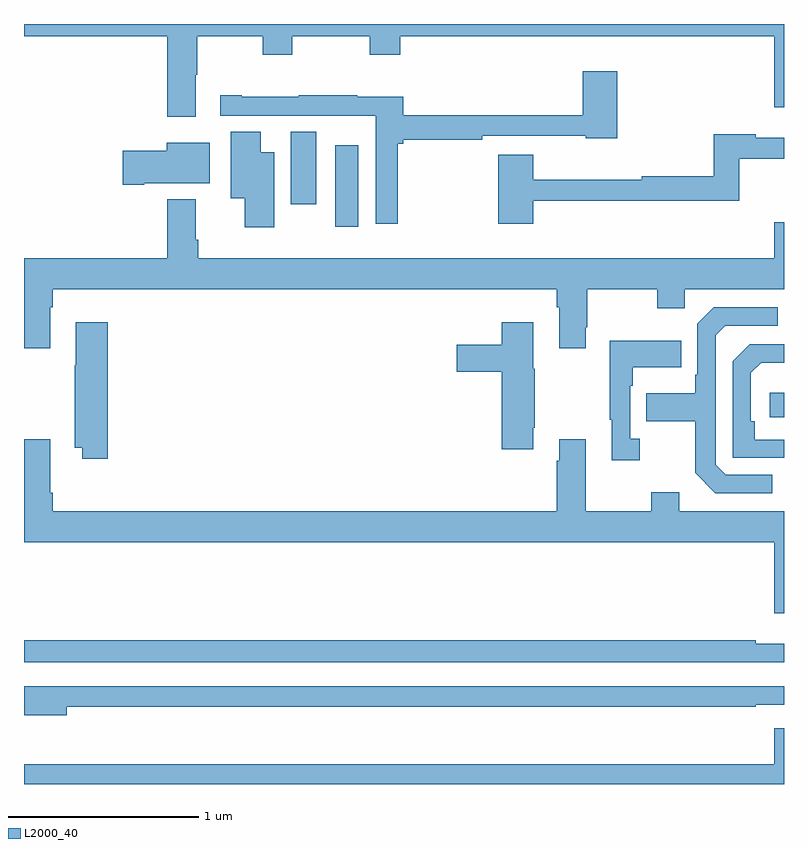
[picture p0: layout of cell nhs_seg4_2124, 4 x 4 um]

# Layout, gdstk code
import gdstk
lib = gdstk.Library(unit=1e-6, precision=1e-09)
def R(c, l, rs):  # rectangles x0, y0, x1, y1
    for r in rs: c.add(gdstk.rectangle(r[:2], r[2:], *l))
def P(c, l, *ps):  # polygons
    for p in ps: c.add(gdstk.Polygon(p, *l))
L2000_40 = (2000, 40)

nhs_seg4_2124 = lib.new_cell('nhs_seg4_2124')
R(nhs_seg4_2124, L2000_40, [(224.925,778.83,225,778.96), (222.638,779.832,222.76,780.262), (222.404,779.952,222.538,780.332)])
P(nhs_seg4_2124, L2000_40, [(221.905,780.632),(221.913,780.632),(221.913,780.836),(222.256,780.836),(222.256,780.737),(222.411,780.737),(222.411,780.836),(222.82,780.836),(222.82,780.737),(222.98,780.737),(222.98,780.836),(224.948,780.836),(224.948,780.462),(225,780.462),(225,780.9),(221,780.9),(221,780.836),(221.753,780.836),(221.753,780.411),(221.905,780.411)],
  [(222.968,780.269),(222.995,780.269),(222.995,780.292),(223.412,780.292),(223.412,780.312),(223.956,780.312),(223.956,780.299),(224.123,780.299),(224.123,780.652),(223.94,780.652),(223.94,780.421),(222.995,780.421),(222.995,780.516),(222.755,780.516),(222.755,780.526),(222.445,780.526),(222.445,780.516),(222.145,780.516),(222.145,780.526),(222.033,780.526),(222.033,780.417),(222.642,780.417),(222.642,780.416),(222.852,780.416),(222.852,779.85),(222.968,779.85)],
  [(222.316,780.226),(222.247,780.226),(222.247,780.332),(222.089,780.332),(222.089,779.984),(222.161,779.984),(222.161,779.829),(222.316,779.829)],
  [(223.679,779.97),(224.765,779.97),(224.765,780.192),(225,780.192),(225,780.301),(224.852,780.301),(224.852,780.32),(224.629,780.32),(224.629,780.098),(224.252,780.098),(224.252,780.081),(223.679,780.081),(223.679,780.211),(223.496,780.211),(223.496,779.85),(223.679,779.85)],
  [(221.632,780.062),(221.977,780.062),(221.977,780.274),(221.75,780.274),(221.75,780.233),(221.52,780.233),(221.52,780.055),(221.632,780.055)],
  [(221.137,779.408),(221.15,779.408),(221.15,779.504),(223.805,779.504),(223.805,779.408),(223.817,779.408),(223.817,779.193),(223.957,779.193),(223.957,779.305),(223.965,779.305),(223.965,779.504),(224.332,779.504),(224.332,779.405),(224.478,779.405),(224.478,779.504),(225,779.504),(225,779.857),(224.948,779.857),(224.948,779.668),(221.918,779.668),(221.918,779.764),(221.905,779.764),(221.905,779.977),(221.753,779.977),(221.753,779.668),(221,779.668),(221,779.193),(221.137,779.193)],
  [(224.938,778.527),(224.694,778.527),(224.64,778.581),(224.64,779.262),(224.691,779.313),(224.968,779.313),(224.968,779.409),(224.631,779.409),(224.544,779.322),(224.544,779.053),(224.532,779.053),(224.532,778.957),(224.275,778.957),(224.275,778.81),(224.532,778.81),(224.532,778.537),(224.637,778.431),(224.938,778.431)],
  [(223.681,778.774),(223.689,778.774),(223.689,779.085),(223.681,779.085),(223.681,779.329),(223.514,779.329),(223.514,779.211),(223.278,779.211),(223.278,779.069),(223.514,779.069),(223.514,778.662),(223.681,778.662)],
  [(221.441,779.329),(221.273,779.329),(221.273,779.105),(221.266,779.105),(221.266,778.67),(221.306,778.67),(221.306,778.611),(221.441,778.611)],
  [(224.242,778.718),(224.19,778.718),(224.19,778.997),(224.203,778.997),(224.203,779.093),(224.459,779.093),(224.459,779.233),(224.082,779.233),(224.082,778.817),(224.093,778.817),(224.093,778.605),(224.242,778.605)],
  [(225,778.713),(224.846,778.713),(224.846,778.81),(224.826,778.81),(224.826,779.064),(224.879,779.117),(225,779.117),(225,779.214),(224.82,779.214),(224.73,779.124),(224.73,778.617),(225,778.617)],
  [(225,778.336),(224.449,778.336),(224.449,778.435),(224.302,778.435),(224.302,778.336),(223.957,778.336),(223.957,778.714),(223.817,778.714),(223.817,778.601),(223.805,778.601),(223.805,778.336),(221.15,778.336),(221.15,778.432),(221.137,778.432),(221.137,778.714),(221,778.714),(221,778.172),(224.948,778.172),(224.948,777.798),(225,777.798)],
  [(225,777.637),(224.852,777.637),(224.852,777.656),(221,777.656),(221,777.54),(225,777.54)],
  [(221.224,777.306),(224.852,777.306),(224.852,777.318),(225,777.318),(225,777.414),(221,777.414),(221,777.263),(221.224,777.263)],
  [(225,777.193),(224.948,777.193),(224.948,777.004),(221,777.004),(221,776.9),(225,776.9)])

lib.write_gds('nhs_seg4_2124.gds')
